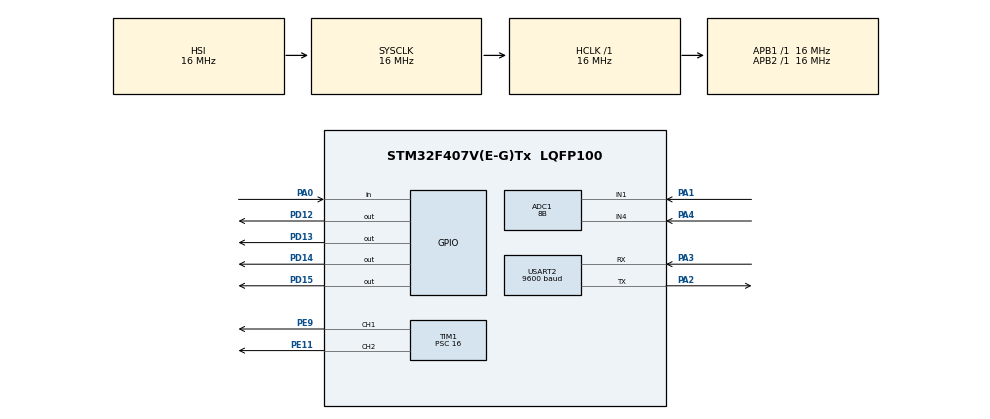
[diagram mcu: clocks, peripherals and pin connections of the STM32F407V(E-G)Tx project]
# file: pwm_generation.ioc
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ADC1.Channel-0\#ChannelRegularConversion=ADC_CHANNEL_1
ADC1.Channel-1\#ChannelRegularConversion=ADC_CHANNEL_4
ADC1.ContinuousConvMode=ENABLE
ADC1.DMAContinuousRequests=ENABLE
ADC1.InjNumberOfConversion=0
ADC1.NbrOfConversion=2
ADC1.NbrOfConversionFlag=1
ADC1.Rank-0\#ChannelRegularConversion=1
ADC1.Rank-1\#ChannelRegularConversion=2
ADC1.Resolution=ADC_RESOLUTION_8B
ADC1.SamplingTime-0\#ChannelRegularConversion=ADC_SAMPLETIME_144CYCLES
ADC1.SamplingTime-1\#ChannelRegularConversion=ADC_SAMPLETIME_144CYCLES
ADC1.ScanConvMode=ENABLE
ADC1.master=1
Dma.ADC1.0.Direction=DMA_PERIPH_TO_MEMORY
Dma.ADC1.0.FIFOMode=DMA_FIFOMODE_DISABLE
Dma.ADC1.0.Instance=DMA2_Stream0
Dma.ADC1.0.MemDataAlignment=DMA_MDATAALIGN_BYTE
Dma.ADC1.0.MemInc=DMA_MINC_ENABLE
Dma.ADC1.0.Mode=DMA_CIRCULAR
Dma.ADC1.0.PeriphDataAlignment=DMA_PDATAALIGN_BYTE
Dma.ADC1.0.PeriphInc=DMA_PINC_DISABLE
Dma.ADC1.0.Priority=DMA_PRIORITY_LOW
Dma.Request0=ADC1
Mcu.Family=STM32F4
Mcu.Name=STM32F407V(E-G)Tx
Mcu.Package=LQFP100
NVIC.DMA2_Stream0_IRQn=true\:0\:0\:false\:false\:true
NVIC.PriorityGroup=NVIC_PRIORITYGROUP_4
PA0-WKUP.Signal=GPIO_Input
PA1.Signal=ADCx_IN1
PA2.Mode=Asynchronous
PA2.Signal=USART2_TX
PA3.Mode=Asynchronous
PA3.Signal=USART2_RX
PA4.Signal=ADCx_IN4
PD12.Signal=GPIO_Output
PD13.Signal=GPIO_Output
PD14.Signal=GPIO_Output
PD15.Signal=GPIO_Output
PE11.Signal=S_TIM1_CH2
PE9.Signal=S_TIM1_CH1
ProjectManager.HeapSize=0x200
ProjectManager.StackSize=0x400
ProjectManager.TargetToolchain=MDK-ARM V5
RCC.AHBFreq_Value=16000000
RCC.APB1Freq_Value=16000000
RCC.APB2Freq_Value=16000000
RCC.CortexFreq_Value=16000000
RCC.HSE_VALUE=25000000
RCC.HSI_VALUE=16000000
RCC.LSE_VALUE=32768
RCC.SYSCLKFreq_VALUE=16000000
RCC.VCOOutputFreq_Value=192000000
SH.ADCx_IN1.0=ADC1_IN1,IN1
SH.ADCx_IN4.0=ADC1_IN4,IN4
SH.S_TIM1_CH1.0=TIM1_CH1,PWM Generation1 CH1
SH.S_TIM1_CH2.0=TIM1_CH2,PWM Generation2 CH2
TIM1.Channel-PWM\ Generation2\ CH2=TIM_CHANNEL_2
TIM1.OCMode_PWM-PWM\ Generation2\ CH2=TIM_OCMODE_PWM2
TIM1.Period=100
TIM1.Prescaler=16
TIM1.Pulse-PWM\ Generation1\ CH1=100
TIM1.Pulse-PWM\ Generation2\ CH2=100
USART2.BaudRate=9600
VP_TIM1_VS_ClockSourceINT.Mode=Internal
board=pwm_generation

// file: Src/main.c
#include "stm32f4xx_hal.h"
#include "string.h"
#include "math.h"
#include <stdlib.h>

ADC_HandleTypeDef hadc1;
DMA_HandleTypeDef hdma_adc1;

TIM_HandleTypeDef htim1;

UART_HandleTypeDef huart2;

/* USER CODE BEGIN PV */
/* Private variables ---------------------------------------------------------*/

/* USER CODE END PV */

void SystemClock_Config(void);
void Error_Handler(void);
static void MX_GPIO_Init(void);
static void MX_DMA_Init(void);
static void MX_TIM1_Init(void);
static void MX_ADC1_Init(void);
static void MX_USART2_UART_Init(void);

void HAL_TIM_MspPostInit(TIM_HandleTypeDef *htim);

/* USER CODE BEGIN PFP */
/* Private function prototypes -----------------------------------------------*/

/* USER CODE END PFP */

int main(void)
{

  /* USER CODE BEGIN 1 */
	uint8_t ADC_buffer[2];

	char myData[13] = "Hello world\n\r";
	char buff[2];
	uint8_t val ;
	float voltage1 = 0;
	float voltage2 = 0;
	float voltage3 = 0;
	float voltage4 = 0;
	float voltage5 = 0;
	float voltage6 = 0;
	float tiempo = 0;

	int Amp = 10;

	char str[15];
	char str2[15];

	float adcValueX;
	float adcValueY;

	uint16_t duttyCycle1 = 10;
	uint16_t duttyCycle2 = 10;
  /* USER CODE END 1 */

  /* MCU Configuration----------------------------------------------------------*/

  /* Reset of all peripherals, Initializes the Flash interface and the Systick. */
  HAL_Init();

  /* Configure the system clock */
  SystemClock_Config();

  /* Initialize all configured peripherals */
  MX_GPIO_Init();
  MX_DMA_Init();
  MX_TIM1_Init();
  MX_ADC1_Init();
  MX_USART2_UART_Init();

  /* USER CODE BEGIN 2 */
	HAL_TIM_PWM_Start(&htim1,TIM_CHANNEL_1);
	HAL_TIM_PWM_Start(&htim1,TIM_CHANNEL_2);

	HAL_UART_Transmit(&huart2, (uint8_t *)myData,13,50);
	HAL_ADC_Start_DMA(&hadc1, (uint32_t *)ADC_buffer ,2);
  /* USER CODE END 2 */

  /* Infinite loop */
  while (1)
  {
	//ADC
  adcValueX = ADC_buffer[0]; //channel 4 : y / channel 1 : x
  adcValueY = ADC_buffer[1]; //channel 4 : y / channel 1 : x
	HAL_Delay(10);

	duttyCycle1 = adcValueX*100/255;
	duttyCycle2 = adcValueY*100/255;

	__HAL_TIM_SetCompare(&htim1,TIM_CHANNEL_1,duttyCycle1);
	__HAL_TIM_SetCompare(&htim1,TIM_CHANNEL_2,duttyCycle2);

	//UART
	HAL_UART_Receive(&huart2,(uint8_t *)buff,2,50);

		if(strcmp( buff, "on" ) == 0){
			char command[13] = "On \n\r";
			HAL_UART_Transmit(&huart2, (uint8_t *)command,strlen(command),50);
			HAL_GPIO_WritePin(GPIOD , GPIO_PIN_15, GPIO_PIN_SET);
		}

		if(strcmp( buff, "of" ) == 0){
			char command[13] = "Off \n\r";
			HAL_UART_Transmit(&huart2, (uint8_t *)command,strlen(command),50);
			HAL_GPIO_WritePin(GPIOD , GPIO_PIN_15, GPIO_PIN_RESET);
		}

		if(strcmp( buff, "to" ) == 0){
			char command[13] = "Toogle \n\r";
			HAL_UART_Transmit(&huart2, (uint8_t *)command,strlen(command),50);
			HAL_GPIO_TogglePin(GPIOD , GPIO_PIN_15);
		}

		if(strcmp( buff, "nu" ) == 0){

			HAL_GPIO_TogglePin(GPIOD , GPIO_PIN_15);

		}

		int txlength = sprintf(str, "%.2f", adcValueX);
		HAL_UART_Transmit(&huart2, (uint8_t*)(&str), txlength, 100);
		HAL_UART_Transmit(&huart2, (uint8_t*) "\n\r", 2, 100);

		txlength = sprintf(str, "%.2f", adcValueY);
		HAL_UART_Transmit(&huart2, (uint8_t*)(&str), txlength, 100);
		HAL_UART_Transmit(&huart2, (uint8_t*) "\n\r", 2, 100);

		txlength = sprintf(str, "%.2f", (double)Amp);
		HAL_UART_Transmit(&huart2, (uint8_t*)(&str), txlength, 100);
		HAL_UART_Transmit(&huart2, (uint8_t*) "\n\r", 2, 100);

		txlength = sprintf(str, "%.2f", tiempo);
		HAL_UART_Transmit(&huart2, (uint8_t*)(&str), txlength, 100);
		HAL_UART_Transmit(&huart2, (uint8_t*) "\n\r", 2, 100);

		if(HAL_GPIO_ReadPin(GPIOA, GPIO_PIN_0)){
			HAL_GPIO_TogglePin(GPIOD , GPIO_PIN_14);
			Amp += 1;
			if(Amp > 20) Amp =10;
			HAL_Delay(50);
		}

		tiempo += 0.1;

	  HAL_Delay(20);

  }
  /* USER CODE END 3 */

}

/** System Clock Configuration
*/
void SystemClock_Config(void)
{

  RCC_OscInitTypeDef RCC_OscInitStruct;
  RCC_ClkInitTypeDef RCC_ClkInitStruct;

  __HAL_RCC_PWR_CLK_ENABLE();

  __HAL_PWR_VOLTAGESCALING_CONFIG(PWR_REGULATOR_VOLTAGE_SCALE1);

  RCC_OscInitStruct.OscillatorType = RCC_OSCILLATORTYPE_HSI;
  RCC_OscInitStruct.HSIState = RCC_HSI_ON;
  RCC_OscInitStruct.HSICalibrationValue = 16;
  RCC_OscInitStruct.PLL.PLLState = RCC_PLL_NONE;
  if (HAL_RCC_OscConfig(&RCC_OscInitStruct) != HAL_OK)
  {
    Error_Handler();
  }

  RCC_ClkInitStruct.ClockType = RCC_CLOCKTYPE_HCLK|RCC_CLOCKTYPE_SYSCLK
                              |RCC_CLOCKTYPE_PCLK1|RCC_CLOCKTYPE_PCLK2;
  RCC_ClkInitStruct.SYSCLKSource = RCC_SYSCLKSOURCE_HSI;
  RCC_ClkInitStruct.AHBCLKDivider = RCC_SYSCLK_DIV1;
  RCC_ClkInitStruct.APB1CLKDivider = RCC_HCLK_DIV1;
  RCC_ClkInitStruct.APB2CLKDivider = RCC_HCLK_DIV1;
  if (HAL_RCC_ClockConfig(&RCC_ClkInitStruct, FLASH_LATENCY_0) != HAL_OK)
  {
    Error_Handler();
  }

  HAL_SYSTICK_Config(HAL_RCC_GetHCLKFreq()/1000);

  HAL_SYSTICK_CLKSourceConfig(SYSTICK_CLKSOURCE_HCLK);

  /* SysTick_IRQn interrupt configuration */
  HAL_NVIC_SetPriority(SysTick_IRQn, 0, 0);
}

/* ADC1 init function */
static void MX_ADC1_Init(void)
{

  ADC_ChannelConfTypeDef sConfig;

    /**Configure the global features of the ADC (Clock, Resolution, Data Alignment and number of conversion)
    */
  hadc1.Instance = ADC1;
  hadc1.Init.ClockPrescaler = ADC_CLOCK_SYNC_PCLK_DIV2;
  hadc1.Init.Resolution = ADC_RESOLUTION_8B;
  hadc1.Init.ScanConvMode = ENABLE;
  hadc1.Init.ContinuousConvMode = ENABLE;
  hadc1.Init.DiscontinuousConvMode = DISABLE;
  hadc1.Init.ExternalTrigConvEdge = ADC_EXTERNALTRIGCONVEDGE_NONE;
  hadc1.Init.DataAlign = ADC_DATAALIGN_RIGHT;
  hadc1.Init.NbrOfConversion = 2;
  hadc1.Init.DMAContinuousRequests = ENABLE;
  hadc1.Init.EOCSelection = ADC_EOC_SINGLE_CONV;
  if (HAL_ADC_Init(&hadc1) != HAL_OK)
  {
    Error_Handler();
  }

    /**Configure for the selected ADC regular channel its corresponding rank in the sequencer and its sample time.
    */
  sConfig.Channel = ADC_CHANNEL_1;
  sConfig.Rank = 1;
  sConfig.SamplingTime = ADC_SAMPLETIME_144CYCLES;
  if (HAL_ADC_ConfigChannel(&hadc1, &sConfig) != HAL_OK)
  {
    Error_Handler();
  }

    /**Configure for the selected ADC regular channel its corresponding rank in the sequencer and its sample time.
    */
  sConfig.Channel = ADC_CHANNEL_4;
  sConfig.Rank = 2;
  if (HAL_ADC_ConfigChannel(&hadc1, &sConfig) != HAL_OK)
  {
    Error_Handler();
  }

}

/* TIM1 init function */
static void MX_TIM1_Init(void)
{

  TIM_ClockConfigTypeDef sClockSourceConfig;
  TIM_MasterConfigTypeDef sMasterConfig;
  TIM_BreakDeadTimeConfigTypeDef sBreakDeadTimeConfig;
  TIM_OC_InitTypeDef sConfigOC;

  htim1.Instance = TIM1;
  htim1.Init.Prescaler = 16;
  htim1.Init.CounterMode = TIM_COUNTERMODE_UP;
  htim1.Init.Period = 100;
  htim1.Init.ClockDivision = TIM_CLOCKDIVISION_DIV1;
  htim1.Init.RepetitionCounter = 0;
  if (HAL_TIM_Base_Init(&htim1) != HAL_OK)
  {
    Error_Handler();
  }

  sClockSourceConfig.ClockSource = TIM_CLOCKSOURCE_INTERNAL;
  if (HAL_TIM_ConfigClockSource(&htim1, &sClockSourceConfig) != HAL_OK)
  {
    Error_Handler();
  }

  if (HAL_TIM_PWM_Init(&htim1) != HAL_OK)
  {
    Error_Handler();
  }

  sMasterConfig.MasterOutputTrigger = TIM_TRGO_RESET;
  sMasterConfig.MasterSlaveMode = TIM_MASTERSLAVEMODE_DISABLE;
  if (HAL_TIMEx_MasterConfigSynchronization(&htim1, &sMasterConfig) != HAL_OK)
  {
    Error_Handler();
  }

  sBreakDeadTimeConfig.OffStateRunMode = TIM_OSSR_DISABLE;
  sBreakDeadTimeConfig.OffStateIDLEMode = TIM_OSSI_DISABLE;
  sBreakDeadTimeConfig.LockLevel = TIM_LOCKLEVEL_OFF;
  sBreakDeadTimeConfig.DeadTime = 0;
  sBreakDeadTimeConfig.BreakState = TIM_BREAK_DISABLE;
  sBreakDeadTimeConfig.BreakPolarity = TIM_BREAKPOLARITY_HIGH;
  sBreakDeadTimeConfig.AutomaticOutput = TIM_AUTOMATICOUTPUT_DISABLE;
  if (HAL_TIMEx_ConfigBreakDeadTime(&htim1, &sBreakDeadTimeConfig) != HAL_OK)
  {
    Error_Handler();
  }

  sConfigOC.OCMode = TIM_OCMODE_PWM1;
  sConfigOC.Pulse = 100;
  sConfigOC.OCPolarity = TIM_OCPOLARITY_HIGH;
  sConfigOC.OCNPolarity = TIM_OCNPOLARITY_HIGH;
  sConfigOC.OCFastMode = TIM_OCFAST_DISABLE;
  sConfigOC.OCIdleState = TIM_OCIDLESTATE_RESET;
  sConfigOC.OCNIdleState = TIM_OCNIDLESTATE_RESET;
  if (HAL_TIM_PWM_ConfigChannel(&htim1, &sConfigOC, TIM_CHANNEL_1) != HAL_OK)
  {
    Error_Handler();
  }

  sConfigOC.OCMode = TIM_OCMODE_PWM2;
  if (HAL_TIM_PWM_ConfigChannel(&htim1, &sConfigOC, TIM_CHANNEL_2) != HAL_OK)
  {
    Error_Handler();
  }

  HAL_TIM_MspPostInit(&htim1);

}

/* USART2 init function */
static void MX_USART2_UART_Init(void)
{

  huart2.Instance = USART2;
  huart2.Init.BaudRate = 9600;
  huart2.Init.WordLength = UART_WORDLENGTH_8B;
  huart2.Init.StopBits = UART_STOPBITS_1;
  huart2.Init.Parity = UART_PARITY_NONE;
  huart2.Init.Mode = UART_MODE_TX_RX;
  huart2.Init.HwFlowCtl = UART_HWCONTROL_NONE;
  huart2.Init.OverSampling = UART_OVERSAMPLING_16;
  if (HAL_UART_Init(&huart2) != HAL_OK)
  {
    Error_Handler();
  }

}

static void MX_DMA_Init(void)
{
  /* DMA controller clock enable */
  __HAL_RCC_DMA2_CLK_ENABLE();

  /* DMA interrupt init */
  /* DMA2_Stream0_IRQn interrupt configuration */
  HAL_NVIC_SetPriority(DMA2_Stream0_IRQn, 0, 0);
  HAL_NVIC_EnableIRQ(DMA2_Stream0_IRQn);

}

/** Configure pins as
        * Analog
        * Input
        * Output
        * EVENT_OUT
        * EXTI
*/
static void MX_GPIO_Init(void)
{

  GPIO_InitTypeDef GPIO_InitStruct;

  /* GPIO Ports Clock Enable */
  __HAL_RCC_GPIOA_CLK_ENABLE();
  __HAL_RCC_GPIOE_CLK_ENABLE();
  __HAL_RCC_GPIOD_CLK_ENABLE();

  /*Configure GPIO pin : PA0 */
  GPIO_InitStruct.Pin = GPIO_PIN_0;
  GPIO_InitStruct.Mode = GPIO_MODE_INPUT;
  GPIO_InitStruct.Pull = GPIO_NOPULL;
  HAL_GPIO_Init(GPIOA, &GPIO_InitStruct);

  /*Configure GPIO pins : PD12 PD13 PD14 PD15 */
  GPIO_InitStruct.Pin = GPIO_PIN_12|GPIO_PIN_13|GPIO_PIN_14|GPIO_PIN_15;
  GPIO_InitStruct.Mode = GPIO_MODE_OUTPUT_PP;
  GPIO_InitStruct.Pull = GPIO_NOPULL;
  GPIO_InitStruct.Speed = GPIO_SPEED_FREQ_LOW;
  HAL_GPIO_Init(GPIOD, &GPIO_InitStruct);

  /*Configure GPIO pin Output Level */
  HAL_GPIO_WritePin(GPIOD, GPIO_PIN_12|GPIO_PIN_13|GPIO_PIN_14|GPIO_PIN_15, GPIO_PIN_RESET);

}

void Error_Handler(void)
{
  while(1)
  {
  }
}

/************************ (C) COPYRIGHT STMicroelectronics *****END OF FILE****/
